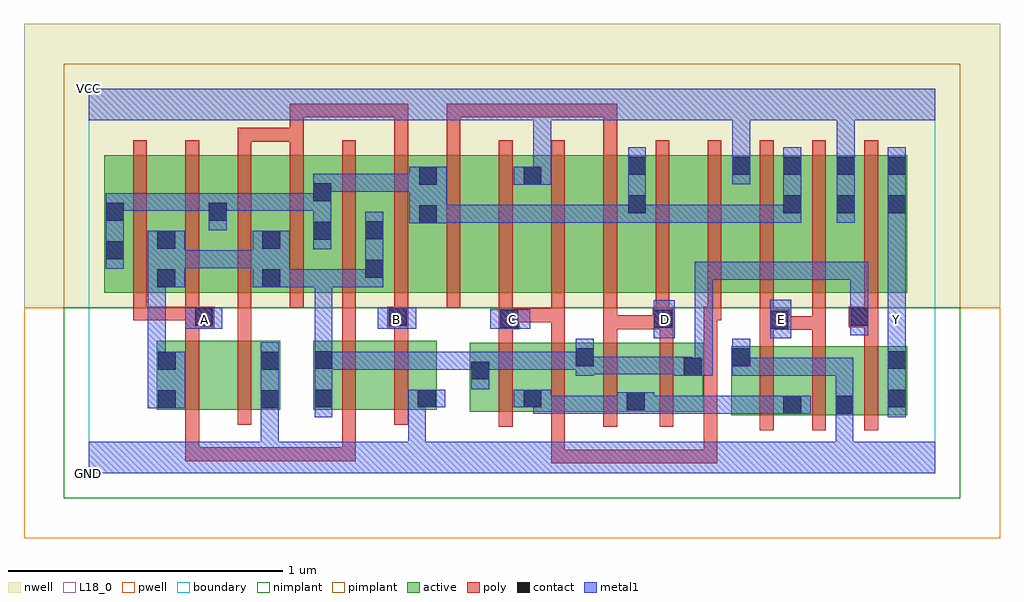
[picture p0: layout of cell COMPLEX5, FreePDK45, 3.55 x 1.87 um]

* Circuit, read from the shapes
.subckt COMPLEX5 A B C D E GND VCC Y
M1 n1 A n2 VSUBS nfet w=0.25u l=0.05u
M2 GND B n1 VSUBS nfet w=0.25u l=0.05u
M3 n3 A n2 VSUBS nfet w=0.25u l=0.05u
M4 GND B n3 VSUBS nfet w=0.25u l=0.05u
M5 n4 C n2 VSUBS nfet w=0.25u l=0.05u m=2
M6 n4 D n2 VSUBS nfet w=0.25u l=0.05u m=2
M7 n4 E GND VSUBS nfet w=0.25u l=0.05u m=2
M8 Y n2 GND VSUBS nfet w=0.25u l=0.05u
M9 n2 A n5 n6 pfet w=0.5u l=0.05u m=3
M10 n2 B n5 n6 pfet w=0.5u l=0.05u m=3
M11 n7 D n5 n6 pfet w=0.5u l=0.05u
M12 VCC C n7 n6 pfet w=0.5u l=0.05u
M13 n8 C VCC n6 pfet w=0.5u l=0.05u
M14 n5 D n8 n6 pfet w=0.5u l=0.05u
M15 n9 D n5 n6 pfet w=0.5u l=0.05u
M16 VCC C n9 n6 pfet w=0.5u l=0.05u
M17 n5 E VCC n6 pfet w=0.5u l=0.05u m=2
M18 Y n2 VCC n6 pfet w=0.5u l=0.05u
.ends

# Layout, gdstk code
import gdstk
lib = gdstk.Library(unit=1e-6, precision=1e-09)
def R(c, l, rs):  # rectangles x0, y0, x1, y1
    for r in rs: c.add(gdstk.rectangle(r[:2], r[2:], *l))
def A(c, l, x, y, w, h, nx, ny, dx, dy):  # array of equal rectangles
    R(c, l, [(x+i*dx, y+j*dy, x+i*dx+w, y+j*dy+h) for i in range(nx) for j in range(ny)])
active = (1, 0)
pwell = (2, 0)
nwell = (3, 0)
nimplant = (4, 0)
pimplant = (5, 0)
poly = (9, 0)
contact = (10, 0)
metal1 = (11, 0)
L18_0 = (18, 0)
boundary = (235, 0)

complex5 = lib.new_cell('COMPLEX5')
A(complex5, active, 1.197, 0.657, 0.075, 0.5, 3, 1, 0.76, 0)
A(complex5, active, 1.197, 0.657, 0.225, 0.5, 3, 1, 0.38, 0)
A(complex5, active, 1.422, 0.657, 0.23, 0.5, 3, 1, 0.38, 0)
R(complex5, active, [(2.337,0.212,2.597,0.462), (2.522,0.212,2.787,0.462), (2.522,0.212,2.597,0.342), (2.712,0.212,2.977,0.462), (2.712,0.212,2.787,0.342), (2.902,0.212,2.977,0.462), (1.387,0.225,1.462,0.475), (1.387,0.225,1.652,0.475), (1.577,0.225,1.842,0.475), (1.767,0.225,2.027,0.475), (1.952,0.225,2.235,0.475), (1.952,0.225,2.027,0.467), (0.247,0.232,0.322,0.482), (0.247,0.232,0.472,0.482), (0.472,0.232,0.697,0.482), (0.622,0.232,0.697,0.482), (0.817,0.232,0.892,0.482), (0.817,0.232,1.042,0.482), (1.042,0.232,1.267,0.482), (1.192,0.235,1.267,0.482), (1.577,0.235,1.652,0.342), (1.767,0.297,1.842,0.46), (2.16,0.297,2.235,0.475), (2.337,0.297,2.412,0.462), (0.057,0.657,0.132,1.157), (0.057,0.657,0.32,1.157), (0.245,0.657,0.32,1.07), (0.245,0.657,0.507,1.157), (0.432,0.657,0.702,1.157), (0.627,0.657,0.887,1.157), (0.627,0.657,0.702,1.07), (0.812,0.657,1.077,1.157), (1.002,0.657,1.272,1.157), (1.002,0.657,1.077,1.07), (2.337,0.657,2.597,1.157), (2.522,0.657,2.792,1.157), (2.717,0.657,2.977,1.157), (2.902,0.657,2.977,1.157), (0.812,0.682,0.887,1.157), (1.577,0.682,1.652,1.157), (0.432,0.697,0.507,1.157), (2.522,0.782,2.597,1.157), (2.337,0.807,2.412,1.157)])
R(complex5, pwell, [(-0.235,-0.235,3.315,0.602)])
R(complex5, nwell, [(-0.235,0.602,3.315,1.635)])
R(complex5, nimplant, [(-0.09,-0.09,3.17,0.602)])
R(complex5, pimplant, [(-0.09,0.602,3.17,1.49)])
A(complex5, poly, 2.442, 0.157, 0.05, 0.36, 3, 1, 0.19, 0)
A(complex5, poly, 1.492, 0.17, 0.05, 0.36, 3, 1, 0.19, 0)
A(complex5, poly, 0.162, 0.602, 0.05, 0.61, 15, 1, 0.19, 0)
R(complex5, poly, [(1.682,0.037,1.732,0.087), (1.682,0.037,1.732,0.22), (1.682,0.037,1.97,0.087), (1.92,0.037,1.97,0.087), (1.92,0.037,1.97,0.087), (1.92,0.037,1.97,0.087), (1.92,0.037,2.102,0.087), (2.052,0.037,2.102,0.087), (2.052,0.037,2.102,0.087), (2.052,0.037,2.102,0.087), (2.052,0.037,2.287,0.087), (2.237,0.037,2.287,0.087), (2.237,0.037,2.287,0.087), (2.237,0.037,2.287,0.087), (2.237,0.037,2.287,0.087), (2.237,0.037,2.287,0.087), (2.237,0.037,2.287,0.087), (2.237,0.037,2.287,0.087), (2.237,0.037,2.287,0.607), (0.352,0.045,0.402,0.095), (0.352,0.045,0.535,0.095), (0.352,0.045,0.402,0.227), (0.485,0.045,0.535,0.095), (0.485,0.045,0.535,0.095), (0.485,0.045,0.535,0.095), (0.485,0.045,0.84,0.095), (0.79,0.045,0.84,0.095), (0.79,0.045,0.84,0.095), (0.79,0.045,0.84,0.095), (0.79,0.045,0.972,0.095), (0.922,0.045,0.972,0.095), (0.922,0.045,0.972,0.095), (0.922,0.045,0.972,0.095), (0.922,0.045,0.972,0.227), (2.077,0.17,2.127,0.53), (0.352,0.177,0.402,0.537), (0.542,0.177,0.592,0.537), (0.922,0.177,0.972,0.537), (1.112,0.177,1.162,0.537), (2.442,0.467,2.492,0.572), (2.632,0.467,2.682,0.572), (2.822,0.467,2.872,0.582), (1.492,0.48,1.542,0.575), (1.682,0.48,1.732,0.6), (1.872,0.48,1.922,0.575), (2.077,0.48,2.127,0.575), (0.352,0.487,0.402,0.582), (0.542,0.487,0.592,0.582), (0.922,0.487,0.972,0.607), (1.112,0.487,1.162,0.582), (2.442,0.522,2.55,0.597), (2.5,0.522,2.682,0.572), (2.632,0.522,2.682,0.652), (2.632,0.522,2.682,0.572), (2.632,0.522,2.682,0.572), (2.632,0.522,2.682,0.572), (1.492,0.525,1.567,0.6), (1.872,0.525,1.922,0.575), (1.872,0.525,2.102,0.575), (1.872,0.525,1.922,0.652), (2.052,0.525,2.102,0.575), (2.052,0.525,2.102,0.575), (2.052,0.525,2.127,0.6), (0.352,0.532,0.457,0.607), (0.542,0.532,0.592,0.582), (0.542,0.532,0.592,0.652), (1.087,0.532,1.162,0.607), (2.765,0.532,2.872,0.607), (2.442,0.547,2.492,0.652), (1.492,0.55,1.542,0.652), (1.517,0.55,1.567,0.6), (1.517,0.55,1.567,0.6), (1.517,0.55,1.732,0.6), (1.682,0.55,1.732,0.6), (1.682,0.55,1.732,0.652), (2.062,0.55,2.112,0.652), (0.162,0.557,0.212,0.652), (0.162,0.557,0.212,0.607), (0.162,0.557,0.212,0.607), (0.162,0.557,0.212,0.607), (0.162,0.557,0.402,0.607), (0.352,0.557,0.402,0.652), (0.922,0.557,0.972,0.652), (0.922,0.557,0.972,0.607), (1.112,0.557,1.162,0.652), (2.237,0.557,2.302,0.607), (2.252,0.557,2.302,0.652), (2.822,0.557,2.872,0.652), (0.542,1.162,0.592,1.257), (0.732,1.162,0.782,1.257), (1.112,1.162,1.162,1.345), (1.302,1.162,1.352,1.345), (1.872,1.162,1.922,1.345), (0.542,1.207,0.592,1.257), (0.542,1.207,0.782,1.257), (0.732,1.207,0.782,1.257), (0.732,1.207,0.782,1.257), (0.732,1.207,0.782,1.345), (0.732,1.295,0.972,1.345), (0.922,1.295,0.972,1.345), (0.922,1.295,0.972,1.345), (0.922,1.295,0.972,1.345), (0.922,1.295,1.162,1.345), (1.112,1.295,1.162,1.345), (1.112,1.295,1.162,1.345), (1.112,1.295,1.162,1.345), (1.302,1.295,1.352,1.345), (1.302,1.295,1.352,1.345), (1.302,1.295,1.352,1.345), (1.302,1.295,1.485,1.345), (1.435,1.295,1.485,1.345), (1.435,1.295,1.485,1.345), (1.435,1.295,1.485,1.345), (1.435,1.295,1.7,1.345), (1.65,1.295,1.7,1.345), (1.65,1.295,1.7,1.345), (1.65,1.295,1.7,1.345), (1.65,1.295,1.922,1.345), (1.872,1.295,1.922,1.345)])
R(complex5, contact, [(2.527,0.217,2.592,0.282), (2.717,0.217,2.782,0.282), (1.957,0.23,2.022,0.295), (0.252,0.237,0.317,0.302), (0.627,0.237,0.692,0.302), (0.822,0.24,0.887,0.305), (1.197,0.24,1.262,0.305), (1.582,0.24,1.647,0.305), (2.907,0.24,2.972,0.305), (1.392,0.342,1.457,0.407), (2.165,0.355,2.23,0.42), (0.252,0.377,0.317,0.442), (0.627,0.377,0.692,0.442), (0.822,0.38,0.887,0.445), (2.907,0.38,2.972,0.445), (1.772,0.39,1.837,0.455), (2.342,0.39,2.407,0.455), (2.48,0.527,2.545,0.592), (1.497,0.53,1.562,0.595), (2.057,0.53,2.122,0.595), (0.387,0.537,0.452,0.602), (1.092,0.537,1.157,0.602), (2.77,0.537,2.835,0.602), (0.25,0.677,0.315,0.742), (0.632,0.677,0.697,0.742), (1.007,0.712,1.072,0.777), (0.062,0.78,0.127,0.845), (0.25,0.817,0.315,0.882), (0.632,0.817,0.697,0.882), (0.817,0.85,0.882,0.915), (1.007,0.852,1.072,0.917), (1.202,0.91,1.267,0.975), (0.062,0.92,0.127,0.985), (0.437,0.92,0.502,0.985), (1.962,0.947,2.027,1.012), (2.527,0.947,2.592,1.012), (2.722,0.947,2.787,1.012), (2.907,0.947,2.972,1.012), (0.817,0.99,0.882,1.055), (1.202,1.05,1.267,1.115), (1.582,1.05,1.647,1.115), (1.962,1.087,2.027,1.152), (2.342,1.087,2.407,1.152), (2.527,1.087,2.592,1.152), (2.722,1.087,2.787,1.152), (2.907,1.087,2.972,1.152)])
R(complex5, metal1, [(0,0,3.08,0.115), (0.627,0.05,0.692,0.115), (0.627,0.05,0.692,0.115), (0.627,0.05,0.692,0.115), (0.627,0.05,0.692,0.115), (0.627,0.05,0.692,0.267), (1.162,0.05,1.227,0.115), (1.162,0.05,1.227,0.115), (1.162,0.05,1.227,0.305), (2.717,0.05,2.782,0.247), (2.717,0.182,2.782,0.317), (2.717,0.182,2.782,0.247), (2.717,0.182,2.782,0.247), (2.717,0.182,2.782,0.247), (2.717,0.182,2.782,0.247), (0.627,0.202,0.692,0.477), (0.822,0.205,0.887,0.48), (2.907,0.205,2.972,0.48), (1.617,0.217,1.837,0.282), (1.617,0.217,1.682,0.305), (1.772,0.217,1.837,0.282), (1.772,0.217,1.837,0.282), (1.772,0.217,1.837,0.282), (1.772,0.217,1.987,0.282), (1.922,0.217,2.057,0.295), (1.992,0.217,2.057,0.282), (1.992,0.217,2.057,0.282), (1.992,0.217,2.27,0.282), (2.205,0.217,2.27,0.282), (2.205,0.217,2.407,0.282), (2.342,0.217,2.407,0.282), (2.342,0.217,2.407,0.282), (2.342,0.217,2.407,0.282), (2.342,0.217,2.557,0.282), (2.492,0.217,2.557,0.282), (2.492,0.217,2.557,0.282), (2.492,0.217,2.627,0.282), (0.215,0.237,0.352,0.442), (1.162,0.24,1.227,0.305), (1.162,0.24,1.227,0.305), (1.162,0.24,1.297,0.305), (1.547,0.24,1.682,0.305), (1.617,0.24,1.682,0.305), (2.717,0.252,2.782,0.42), (1.392,0.307,1.457,0.442), (1.772,0.355,1.837,0.49), (2.13,0.355,2.195,0.42), (2.13,0.355,2.27,0.42), (2.13,0.355,2.195,0.425), (2.205,0.355,2.27,0.77), (2.205,0.355,2.27,0.42), (2.205,0.355,2.27,0.42), (2.342,0.355,2.407,0.49), (2.342,0.355,2.56,0.42), (2.495,0.355,2.56,0.42), (2.495,0.355,2.56,0.42), (2.495,0.355,2.56,0.42), (2.495,0.355,2.697,0.42), (2.632,0.355,2.697,0.42), (2.632,0.355,2.782,0.42), (2.717,0.355,2.782,0.42), (1.772,0.36,1.837,0.425), (1.772,0.36,1.837,0.425), (1.772,0.36,2.057,0.425), (1.992,0.36,2.057,0.425), (1.992,0.36,2.195,0.425), (0.215,0.377,0.28,0.442), (0.215,0.377,0.28,0.442), (0.215,0.377,0.28,0.742), (0.822,0.377,0.887,0.442), (0.822,0.377,0.887,0.442), (0.822,0.377,1.025,0.442), (0.96,0.377,1.025,0.442), (0.96,0.377,1.025,0.442), (0.96,0.377,1.025,0.442), (0.96,0.377,1.162,0.442), (1.097,0.377,1.162,0.442), (1.097,0.377,1.162,0.442), (1.097,0.377,1.162,0.442), (1.097,0.377,1.457,0.442), (1.392,0.377,1.457,0.442), (1.392,0.377,1.457,0.442), (1.392,0.377,1.7,0.442), (1.635,0.377,1.7,0.442), (1.635,0.377,1.7,0.442), (1.635,0.377,1.7,0.442), (1.635,0.377,1.837,0.442), (0.822,0.415,0.887,0.742), (2.907,0.415,2.972,0.557), (2.055,0.492,2.132,0.63), (2.48,0.492,2.555,0.632), (2.907,0.492,2.972,0.627), (2.77,0.502,2.835,0.637), (0.352,0.527,0.487,0.605), (1.052,0.527,1.192,0.602), (1.46,0.527,1.607,0.597), (2.907,0.562,2.972,0.977), (2.77,0.572,2.835,0.637), (2.77,0.572,2.835,0.637), (2.77,0.572,2.835,0.77), (0.215,0.677,0.35,0.882), (0.597,0.677,0.732,0.882), (0.667,0.677,0.732,0.742), (0.667,0.677,0.732,0.742), (0.667,0.677,0.887,0.742), (0.822,0.677,0.887,0.742), (0.822,0.677,0.887,0.742), (0.822,0.677,0.887,0.742), (0.822,0.677,0.887,0.742), (0.822,0.677,0.887,0.742), (0.822,0.677,1.072,0.742), (1.007,0.677,1.072,0.952), (2.205,0.705,2.27,0.77), (2.205,0.705,2.407,0.77), (2.342,0.705,2.407,0.77), (2.342,0.705,2.407,0.77), (2.342,0.705,2.407,0.77), (2.342,0.705,2.56,0.77), (2.495,0.705,2.56,0.77), (2.495,0.705,2.56,0.77), (2.495,0.705,2.56,0.77), (2.495,0.705,2.697,0.77), (2.632,0.705,2.697,0.77), (2.632,0.705,2.835,0.77), (2.77,0.705,2.835,0.77), (0.062,0.745,0.127,1.02), (0.285,0.747,0.35,0.812), (0.285,0.747,0.35,0.812), (0.285,0.747,0.49,0.812), (0.425,0.747,0.49,0.812), (0.425,0.747,0.49,0.812), (0.425,0.747,0.49,0.812), (0.425,0.747,0.662,0.812), (0.817,0.815,0.882,1.09), (0.437,0.885,0.502,1.02), (1.167,0.91,1.302,1.115), (1.237,0.912,1.302,0.977), (1.237,0.912,1.302,0.977), (1.237,0.912,1.475,0.977), (1.41,0.912,1.475,0.977), (1.41,0.912,1.475,0.977), (1.41,0.912,1.475,0.977), (1.41,0.912,1.7,0.977), (1.635,0.912,1.7,0.977), (1.635,0.912,1.7,0.977), (1.635,0.912,1.7,0.977), (1.635,0.912,1.837,0.977), (1.772,0.912,1.837,0.977), (1.772,0.912,1.837,0.977), (1.772,0.912,1.837,0.977), (1.772,0.912,2.027,0.977), (1.962,0.912,2.027,1.187), (1.962,0.912,2.195,0.977), (2.13,0.912,2.195,0.977), (2.13,0.912,2.195,0.977), (2.13,0.912,2.195,0.977), (2.13,0.912,2.407,0.977), (2.342,0.912,2.407,0.977), (2.342,0.912,2.407,0.977), (2.342,0.912,2.407,0.977), (2.342,0.912,2.545,0.977), (2.48,0.912,2.545,0.977), (2.48,0.912,2.592,0.977), (2.527,0.912,2.592,1.187), (2.722,0.912,2.787,1.187), (2.907,0.912,2.972,1.187), (0.062,0.955,0.127,1.02), (0.062,0.955,0.127,1.02), (0.062,0.955,0.265,1.02), (0.2,0.955,0.265,1.02), (0.2,0.955,0.265,1.02), (0.2,0.955,0.265,1.02), (0.2,0.955,0.502,1.02), (0.437,0.955,0.502,1.02), (0.437,0.955,0.502,1.02), (0.437,0.955,0.64,1.02), (0.575,0.955,0.64,1.02), (0.575,0.955,0.64,1.02), (0.575,0.955,0.64,1.02), (0.575,0.955,0.882,1.02), (0.817,1.025,0.882,1.09), (0.817,1.025,0.882,1.09), (0.817,1.025,1.025,1.09), (0.96,1.025,1.025,1.09), (0.96,1.025,1.025,1.09), (0.96,1.025,1.025,1.09), (0.96,1.025,1.232,1.09), (1.547,1.05,1.682,1.115), (1.617,1.05,1.682,1.115), (1.617,1.05,1.682,1.115), (1.617,1.05,1.682,1.35), (2.342,1.052,2.407,1.187), (2.342,1.122,2.407,1.35), (2.722,1.122,2.787,1.35), (0,1.285,3.08,1.4), (2.342,1.285,2.407,1.35), (2.342,1.285,2.407,1.35), (2.722,1.285,2.787,1.35), (2.722,1.285,2.787,1.35)])
A(complex5, L18_0, 2.067, 0.527, 0.065, 0.065, 3, 1, 0.42, 0)
R(complex5, L18_0, [(0,0,3.08,0.115), (0.627,0.05,0.692,0.115), (0.627,0.05,0.692,0.115), (0.627,0.05,0.692,0.115), (0.627,0.05,0.692,0.115), (0.627,0.05,0.692,0.267), (1.162,0.05,1.227,0.115), (1.162,0.05,1.227,0.115), (1.162,0.05,1.227,0.305), (2.717,0.05,2.782,0.247), (2.717,0.182,2.782,0.247), (2.717,0.182,2.782,0.247), (2.717,0.182,2.782,0.247), (2.717,0.182,2.782,0.247), (2.717,0.182,2.782,0.317), (0.627,0.202,0.692,0.477), (2.907,0.205,2.972,0.48), (1.162,0.24,1.227,0.305), (1.162,0.24,1.227,0.305), (1.162,0.24,1.297,0.305), (2.717,0.252,2.782,0.42), (2.342,0.355,2.407,0.49), (2.342,0.355,2.56,0.42), (2.495,0.355,2.56,0.42), (2.495,0.355,2.56,0.42), (2.495,0.355,2.56,0.42), (2.495,0.355,2.697,0.42), (2.632,0.355,2.697,0.42), (2.632,0.355,2.782,0.42), (2.717,0.355,2.782,0.42), (2.907,0.415,2.972,0.557), (2.055,0.492,2.132,0.63), (2.48,0.492,2.555,0.632), (2.907,0.492,2.972,0.627), (0.352,0.527,0.487,0.605), (0.387,0.527,0.452,0.592), (1.052,0.527,1.192,0.602), (1.087,0.527,1.152,0.592), (1.46,0.527,1.607,0.597), (1.507,0.527,1.572,0.592), (2.907,0.562,2.972,0.977), (2.722,0.912,2.787,1.187), (2.907,0.912,2.972,1.187), (1.547,1.05,1.682,1.115), (1.617,1.05,1.682,1.115), (1.617,1.05,1.682,1.115), (1.617,1.05,1.682,1.35), (2.342,1.052,2.407,1.187), (2.342,1.122,2.407,1.35), (2.722,1.122,2.787,1.35), (0,1.285,3.08,1.4), (2.342,1.285,2.407,1.35), (2.342,1.285,2.407,1.35), (2.722,1.285,2.787,1.35), (2.722,1.285,2.787,1.35)])
R(complex5, boundary, [(0,0,3.08,1.4)])
complex5.add(gdstk.Label('A', (0.42,0.56), layer=11, texttype=0))
complex5.add(gdstk.Label('B', (1.12,0.56), layer=11, texttype=0))
complex5.add(gdstk.Label('C', (1.54,0.56), layer=11, texttype=0))
complex5.add(gdstk.Label('D', (2.1,0.56), layer=11, texttype=0))
complex5.add(gdstk.Label('E', (2.52,0.56), layer=11, texttype=0))
complex5.add(gdstk.Label('Y', (2.94,0.56), layer=11, texttype=0))
complex5.add(gdstk.Label('VCC', (0,1.4), layer=11, texttype=0))
complex5.add(gdstk.Label('GND', (0,0), layer=11, texttype=0))

lib.write_gds('COMPLEX5.gds')
